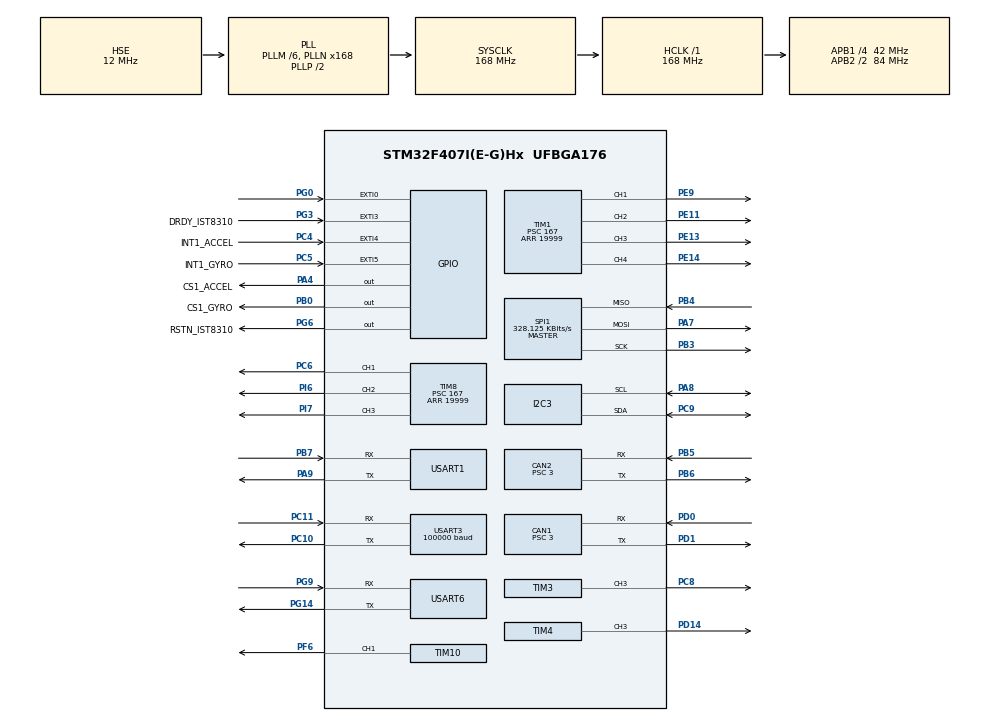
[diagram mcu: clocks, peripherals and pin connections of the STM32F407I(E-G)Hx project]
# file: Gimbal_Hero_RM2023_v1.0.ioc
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CAN1.BS1=CAN_BS1_10TQ
CAN1.BS2=CAN_BS2_3TQ
CAN1.CalculateBaudRate=1000000
CAN1.CalculateTimeQuantum=71.42857142857143
CAN1.NART=ENABLE
CAN1.Prescaler=3
CAN2.BS1=CAN_BS1_10TQ
CAN2.BS2=CAN_BS2_3TQ
CAN2.CalculateBaudRate=1000000
CAN2.CalculateTimeQuantum=71.42857142857143
CAN2.NART=ENABLE
CAN2.Prescaler=3
Dma.Request0=USART3_RX
Dma.Request1=USART1_TX
Dma.Request2=SPI1_RX
Dma.Request3=SPI1_TX
Dma.Request4=USART6_RX
Dma.Request5=USART6_TX
Dma.Request6=USART1_RX
Dma.SPI1_RX.2.Direction=DMA_PERIPH_TO_MEMORY
Dma.SPI1_RX.2.FIFOMode=DMA_FIFOMODE_DISABLE
Dma.SPI1_RX.2.Instance=DMA2_Stream2
Dma.SPI1_RX.2.MemDataAlignment=DMA_MDATAALIGN_BYTE
Dma.SPI1_RX.2.MemInc=DMA_MINC_ENABLE
Dma.SPI1_RX.2.Mode=DMA_NORMAL
Dma.SPI1_RX.2.PeriphDataAlignment=DMA_PDATAALIGN_BYTE
Dma.SPI1_RX.2.PeriphInc=DMA_PINC_DISABLE
Dma.SPI1_RX.2.Priority=DMA_PRIORITY_VERY_HIGH
Dma.SPI1_TX.3.Direction=DMA_MEMORY_TO_PERIPH
Dma.SPI1_TX.3.FIFOMode=DMA_FIFOMODE_DISABLE
Dma.SPI1_TX.3.Instance=DMA2_Stream3
Dma.SPI1_TX.3.MemDataAlignment=DMA_MDATAALIGN_BYTE
Dma.SPI1_TX.3.MemInc=DMA_MINC_ENABLE
Dma.SPI1_TX.3.Mode=DMA_NORMAL
Dma.SPI1_TX.3.PeriphDataAlignment=DMA_PDATAALIGN_BYTE
Dma.SPI1_TX.3.PeriphInc=DMA_PINC_DISABLE
Dma.SPI1_TX.3.Priority=DMA_PRIORITY_HIGH
Dma.USART1_RX.6.Direction=DMA_PERIPH_TO_MEMORY
Dma.USART1_RX.6.FIFOMode=DMA_FIFOMODE_DISABLE
Dma.USART1_RX.6.Instance=DMA2_Stream5
Dma.USART1_RX.6.MemDataAlignment=DMA_MDATAALIGN_BYTE
Dma.USART1_RX.6.MemInc=DMA_MINC_ENABLE
Dma.USART1_RX.6.Mode=DMA_NORMAL
Dma.USART1_RX.6.PeriphDataAlignment=DMA_PDATAALIGN_BYTE
Dma.USART1_RX.6.PeriphInc=DMA_PINC_DISABLE
Dma.USART1_RX.6.Priority=DMA_PRIORITY_VERY_HIGH
Dma.USART1_TX.1.Direction=DMA_MEMORY_TO_PERIPH
Dma.USART1_TX.1.FIFOMode=DMA_FIFOMODE_DISABLE
Dma.USART1_TX.1.Instance=DMA2_Stream7
Dma.USART1_TX.1.MemDataAlignment=DMA_MDATAALIGN_BYTE
Dma.USART1_TX.1.MemInc=DMA_MINC_ENABLE
Dma.USART1_TX.1.Mode=DMA_NORMAL
Dma.USART1_TX.1.PeriphDataAlignment=DMA_PDATAALIGN_BYTE
Dma.USART1_TX.1.PeriphInc=DMA_PINC_DISABLE
Dma.USART1_TX.1.Priority=DMA_PRIORITY_VERY_HIGH
Dma.USART3_RX.0.Direction=DMA_PERIPH_TO_MEMORY
Dma.USART3_RX.0.FIFOMode=DMA_FIFOMODE_DISABLE
Dma.USART3_RX.0.Instance=DMA1_Stream1
Dma.USART3_RX.0.MemDataAlignment=DMA_MDATAALIGN_BYTE
Dma.USART3_RX.0.MemInc=DMA_MINC_ENABLE
Dma.USART3_RX.0.Mode=DMA_NORMAL
Dma.USART3_RX.0.PeriphDataAlignment=DMA_PDATAALIGN_BYTE
Dma.USART3_RX.0.PeriphInc=DMA_PINC_DISABLE
Dma.USART3_RX.0.Priority=DMA_PRIORITY_VERY_HIGH
Dma.USART6_RX.4.Direction=DMA_PERIPH_TO_MEMORY
Dma.USART6_RX.4.FIFOMode=DMA_FIFOMODE_DISABLE
Dma.USART6_RX.4.Instance=DMA2_Stream1
Dma.USART6_RX.4.MemDataAlignment=DMA_MDATAALIGN_BYTE
Dma.USART6_RX.4.MemInc=DMA_MINC_ENABLE
Dma.USART6_RX.4.Mode=DMA_NORMAL
Dma.USART6_RX.4.PeriphDataAlignment=DMA_PDATAALIGN_BYTE
Dma.USART6_RX.4.PeriphInc=DMA_PINC_DISABLE
Dma.USART6_RX.4.Priority=DMA_PRIORITY_VERY_HIGH
Dma.USART6_TX.5.Direction=DMA_MEMORY_TO_PERIPH
Dma.USART6_TX.5.FIFOMode=DMA_FIFOMODE_DISABLE
Dma.USART6_TX.5.Instance=DMA2_Stream6
Dma.USART6_TX.5.MemDataAlignment=DMA_MDATAALIGN_BYTE
Dma.USART6_TX.5.MemInc=DMA_MINC_ENABLE
Dma.USART6_TX.5.Mode=DMA_NORMAL
Dma.USART6_TX.5.PeriphDataAlignment=DMA_PDATAALIGN_BYTE
Dma.USART6_TX.5.PeriphInc=DMA_PINC_DISABLE
Dma.USART6_TX.5.Priority=DMA_PRIORITY_VERY_HIGH
FREERTOS.INCLUDE_eTaskGetState=1
FREERTOS.INCLUDE_pcTaskGetTaskName=1
FREERTOS.INCLUDE_uxTaskGetStackHighWaterMark=1
FREERTOS.INCLUDE_vTaskCleanUpResources=1
FREERTOS.INCLUDE_vTaskDelayUntil=1
FREERTOS.INCLUDE_xEventGroupSetBitFromISR=1
FREERTOS.INCLUDE_xQueueGetMutexHolder=1
FREERTOS.INCLUDE_xSemaphoreGetMutexHolder=1
FREERTOS.INCLUDE_xTaskAbortDelay=1
FREERTOS.INCLUDE_xTaskGetCurrentTaskHandle=1
FREERTOS.INCLUDE_xTaskGetHandle=1
FREERTOS.INCLUDE_xTimerPendFunctionCall=1
FREERTOS.Tasks01=Rabbit_Task,0,128,rabbit_task,As weak,NULL,Dynamic,NULL,NULL;Shoot_Task,0,512,shoot_task,As weak,NULL,Dynamic,NULL,NULL;Gimbal_Task,2,512,gimbal_task,As weak,NULL,Dynamic,NULL,NULL;INS_Task,3,2560,INS_task,As weak,NULL,Dynamic,NULL,NULL;Chassis_Task,1,512,chassis_task,As weak,NULL,Dynamic,NULL,NULL;Comm_Task,0,128,comm_task,As weak,NULL,Dynamic,NULL,NULL
FREERTOS.configMAX_TASK_NAME_LEN=19
FREERTOS.configTOTAL_HEAP_SIZE=24576
FREERTOS.configUSE_TIMERS=1
I2C3.I2C_Mode=I2C_Fast
Mcu.Family=STM32F4
Mcu.Name=STM32F407I(E-G)Hx
Mcu.Package=UFBGA176
NVIC.CAN1_RX0_IRQn=true\:5\:0\:true\:false\:true\:true\:true\:true\:true
NVIC.CAN2_RX0_IRQn=true\:5\:0\:false\:false\:true\:true\:true\:true\:true
NVIC.DMA1_Stream1_IRQn=true\:5\:0\:false\:false\:true\:true\:false\:true\:true
NVIC.DMA2_Stream1_IRQn=true\:5\:0\:false\:false\:true\:true\:false\:true\:true
NVIC.DMA2_Stream2_IRQn=true\:5\:0\:false\:false\:false\:false\:false\:true\:true
NVIC.DMA2_Stream3_IRQn=true\:5\:0\:false\:false\:true\:true\:false\:true\:true
NVIC.DMA2_Stream5_IRQn=true\:5\:0\:false\:false\:true\:true\:false\:true\:true
NVIC.DMA2_Stream6_IRQn=true\:5\:0\:false\:false\:true\:true\:false\:true\:true
NVIC.DMA2_Stream7_IRQn=true\:5\:0\:false\:false\:true\:true\:false\:true\:true
NVIC.EXTI0_IRQn=true\:5\:0\:false\:false\:true\:true\:true\:true\:true
NVIC.EXTI3_IRQn=true\:5\:0\:false\:false\:true\:true\:true\:true\:true
NVIC.EXTI4_IRQn=true\:5\:0\:false\:false\:true\:true\:true\:true\:true
NVIC.EXTI9_5_IRQn=true\:5\:0\:false\:false\:true\:true\:true\:true\:true
NVIC.PriorityGroup=NVIC_PRIORITYGROUP_4
NVIC.TIM6_DAC_IRQn=true\:15\:0\:false\:false\:true\:false\:false\:true\:true
NVIC.TimeBase=TIM6_DAC_IRQn
NVIC.TimeBaseIP=TIM6
NVIC.USART1_IRQn=true\:5\:0\:false\:false\:true\:true\:true\:true\:true
NVIC.USART3_IRQn=true\:5\:0\:false\:false\:false\:true\:true\:true\:true
NVIC.USART6_IRQn=true\:5\:0\:false\:false\:true\:true\:true\:true\:true
PA13.Mode=Serial_Wire
PA13.Signal=SYS_JTMS-SWDIO
PA14.Mode=Serial_Wire
PA14.Signal=SYS_JTCK-SWCLK
PA4.GPIO_Label=CS1_ACCEL
PA4.GPIO_PuPd=GPIO_PULLUP
PA4.GPIO_Speed=GPIO_SPEED_FREQ_HIGH
PA4.PinState=GPIO_PIN_SET
PA4.Signal=GPIO_Output
PA7.Mode=Full_Duplex_Master
PA7.Signal=SPI1_MOSI
PA8.GPIO_Pu=GPIO_PULLUP
PA8.Mode=I2C
PA8.Signal=I2C3_SCL
PA9.Mode=Asynchronous
PA9.Signal=USART1_TX
PB0.GPIO_Label=CS1_GYRO
PB0.GPIO_PuPd=GPIO_PULLUP
PB0.GPIO_Speed=GPIO_SPEED_FREQ_HIGH
PB0.PinState=GPIO_PIN_SET
PB0.Signal=GPIO_Output
PB3.Mode=Full_Duplex_Master
PB3.Signal=SPI1_SCK
PB4.Mode=Full_Duplex_Master
PB4.Signal=SPI1_MISO
PB5.Mode=CAN_Activate
PB5.Signal=CAN2_RX
PB6.Mode=CAN_Activate
PB6.Signal=CAN2_TX
PB7.Mode=Asynchronous
PB7.Signal=USART1_RX
PC10.Mode=Asynchronous
PC10.Signal=USART3_TX
PC11.Mode=Asynchronous
PC11.Signal=USART3_RX
PC4.GPIO_Label=INT1_ACCEL
PC4.GPIO_ModeDefaultEXTI=GPIO_MODE_IT_FALLING
PC4.GPIO_PuPd=GPIO_PULLUP
PC4.Signal=GPXTI4
PC5.GPIO_Label=INT1_GYRO
PC5.GPIO_ModeDefaultEXTI=GPIO_MODE_IT_FALLING
PC5.GPIO_PuPd=GPIO_PULLUP
PC5.Signal=GPXTI5
PC6.GPIO_PuPd=GPIO_PULLUP
PC6.GPIO_Speed=GPIO_SPEED_FREQ_HIGH
PC6.Signal=S_TIM8_CH1
PC8.GPIO_PuPd=GPIO_PULLUP
PC8.GPIO_Speed=GPIO_SPEED_FREQ_VERY_HIGH
PC8.Signal=S_TIM3_CH3
PC9.GPIO_Pu=GPIO_PULLUP
PC9.Mode=I2C
PC9.Signal=I2C3_SDA
PD0.Mode=CAN_Activate
PD0.Signal=CAN1_RX
PD1.Mode=CAN_Activate
PD1.Signal=CAN1_TX
PD14.Signal=S_TIM4_CH3
PE11.GPIO_PuPd=GPIO_PULLUP
PE11.GPIO_Speed=GPIO_SPEED_FREQ_HIGH
PE11.Signal=S_TIM1_CH2
PE13.GPIO_PuPd=GPIO_PULLUP
PE13.GPIO_Speed=GPIO_SPEED_FREQ_HIGH
PE13.Signal=S_TIM1_CH3
PE14.GPIO_PuPd=GPIO_PULLUP
PE14.GPIO_Speed=GPIO_SPEED_FREQ_HIGH
PE14.Signal=S_TIM1_CH4
PE9.GPIO_PuPd=GPIO_PULLUP
PE9.GPIO_Speed=GPIO_SPEED_FREQ_HIGH
PE9.Signal=S_TIM1_CH1
PF6.GPIO_PuPd=GPIO_PULLUP
PF6.GPIO_Speed=GPIO_SPEED_FREQ_HIGH
PF6.Signal=S_TIM10_CH1
PG0.GPIO_ModeDefaultEXTI=GPIO_MODE_IT_FALLING
PG0.GPIO_PuPd=GPIO_PULLUP
PG0.Signal=GPXTI0
PG14.Mode=Asynchronous
PG14.Signal=USART6_TX
PG3.GPIO_Label=DRDY_IST8310
PG3.GPIO_ModeDefaultEXTI=GPIO_MODE_IT_FALLING
PG3.GPIO_PuPd=GPIO_PULLUP
PG3.Signal=GPXTI3
PG6.GPIO_Label=RSTN_IST8310
PG6.GPIO_PuPd=GPIO_PULLUP
PG6.GPIO_Speed=GPIO_SPEED_FREQ_MEDIUM
PG6.PinState=GPIO_PIN_SET
PG6.Signal=GPIO_Output
PG9.Mode=Asynchronous
PG9.Signal=USART6_RX
PH0-OSC_IN.Mode=HSE-External-Oscillator
PH0-OSC_IN.Signal=RCC_OSC_IN
PH1-OSC_OUT.Mode=HSE-External-Oscillator
PH1-OSC_OUT.Signal=RCC_OSC_OUT
PI6.GPIO_PuPd=GPIO_PULLUP
PI6.GPIO_Speed=GPIO_SPEED_FREQ_HIGH
PI6.Signal=S_TIM8_CH2
PI7.GPIO_PuPd=GPIO_PULLUP
PI7.GPIO_Speed=GPIO_SPEED_FREQ_HIGH
PI7.Signal=S_TIM8_CH3
ProjectManager.HeapSize=0x200
ProjectManager.StackSize=0x400
ProjectManager.TargetToolchain=MDK-ARM V5
RCC.48MHZClocksFreq_Value=84000000
RCC.AHBFreq_Value=168000000
RCC.APB1CLKDivider=RCC_HCLK_DIV4
RCC.APB1Freq_Value=42000000
RCC.APB1TimFreq_Value=84000000
RCC.APB2CLKDivider=RCC_HCLK_DIV2
RCC.APB2Freq_Value=84000000
RCC.APB2TimFreq_Value=168000000
RCC.CortexFreq_Value=168000000
RCC.HCLKFreq_Value=168000000
RCC.HSE_VALUE=12000000
RCC.HSI_VALUE=16000000
RCC.LSE_VALUE=32768
RCC.PLLM=6
RCC.PLLN=168
RCC.PLLSourceVirtual=RCC_PLLSOURCE_HSE
RCC.SYSCLKFreq_VALUE=168000000
RCC.SYSCLKSource=RCC_SYSCLKSOURCE_PLLCLK
RCC.VCOOutputFreq_Value=336000000
SH.S_TIM10_CH1.0=TIM10_CH1,PWM Generation1 CH1
SH.S_TIM1_CH1.0=TIM1_CH1,PWM Generation1 CH1
SH.S_TIM1_CH2.0=TIM1_CH2,PWM Generation2 CH2
SH.S_TIM1_CH3.0=TIM1_CH3,PWM Generation3 CH3
SH.S_TIM1_CH4.0=TIM1_CH4,PWM Generation4 CH4
SH.S_TIM3_CH3.0=TIM3_CH3,PWM Generation3 CH3
SH.S_TIM4_CH3.0=TIM4_CH3,PWM Generation3 CH3
SH.S_TIM8_CH1.0=TIM8_CH1,PWM Generation1 CH1
SH.S_TIM8_CH2.0=TIM8_CH2,PWM Generation2 CH2
SH.S_TIM8_CH3.0=TIM8_CH3,PWM Generation3 CH3
SPI1.BaudRatePrescaler=SPI_BAUDRATEPRESCALER_256
SPI1.CLKPhase=SPI_PHASE_2EDGE
SPI1.CLKPolarity=SPI_POLARITY_HIGH
SPI1.CalculateBaudRate=328.125 KBits/s
SPI1.Direction=SPI_DIRECTION_2LINES
SPI1.Mode=SPI_MODE_MASTER
SPI1.VirtualType=VM_MASTER
TIM1.Channel-PWM\ Generation1\ CH1=TIM_CHANNEL_1
TIM1.Channel-PWM\ Generation2\ CH2=TIM_CHANNEL_2
TIM1.Channel-PWM\ Generation3\ CH3=TIM_CHANNEL_3
TIM1.Channel-PWM\ Generation4\ CH4=TIM_CHANNEL_4
TIM1.Period=19999
TIM1.Prescaler=167
TIM1.Pulse-PWM\ Generation1\ CH1=2000
TIM10.Channel=TIM_CHANNEL_1
TIM10.Period=4999
TIM3.Channel-PWM\ Generation3\ CH3=TIM_CHANNEL_3
TIM3.Period=1000-1
TIM3.Prescaler=84-1
TIM4.Channel-PWM\ Generation3\ CH3=TIM_CHANNEL_3
TIM4.Period=20999
TIM8.Channel-PWM\ Generation1\ CH1=TIM_CHANNEL_1
TIM8.Channel-PWM\ Generation2\ CH2=TIM_CHANNEL_2
TIM8.Channel-PWM\ Generation3\ CH3=TIM_CHANNEL_3
TIM8.Period=19999
TIM8.Prescaler=167
TIM8.Pulse-PWM\ Generation1\ CH1=2000
TIM8.Pulse-PWM\ Generation2\ CH2=1450
TIM8.Pulse-PWM\ Generation3\ CH3=1500
USART1.VirtualMode=VM_ASYNC
USART3.BaudRate=100000
USART3.VirtualMode=VM_ASYNC
USART6.VirtualMode=VM_ASYNC
VP_FREERTOS_VS_CMSIS_V1.Mode=CMSIS_V1
VP_SYS_VS_tim6.Mode=TIM6
VP_TIM10_VS_ClockSourceINT.Mode=Enable_Timer
VP_TIM1_VS_ClockSourceINT.Mode=Internal
VP_TIM3_VS_ClockSourceINT.Mode=Internal
VP_TIM4_VS_ClockSourceINT.Mode=Internal
VP_TIM8_VS_ClockSourceINT.Mode=Internal
board=custom

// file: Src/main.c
/* USER CODE BEGIN Header */
/**
  ******************************************************************************
  * @file           : main.c
  * @brief          : Main program body
  ******************************************************************************
  * @attention
  *
  * <h2><center>&copy; Copyright (c) 2022 STMicroelectronics.
  * All rights reserved.</center></h2>
  *
  * This software component is licensed by ST under Ultimate Liberty license
  * SLA0044, the "License"; You may not use this file except in compliance with
  * the License. You may obtain a copy of the License at:
  *                             www.st.com/SLA0044
  *
  ******************************************************************************
  */
/* USER CODE END Header */
#include "main.h"
#include "cmsis_os.h"
#include "can.h"
#include "dma.h"
#include "i2c.h"
#include "spi.h"
#include "tim.h"
#include "usart.h"
#include "gpio.h"

/* USER CODE BEGIN Includes */
#include "bsp_can.h"
#include "remote_control.h"
#include "ist8310driver.h"
#include "BMI088driver.h"
#include "servo.h"
#include "bsp_pwm.h"
#include "bsp_delay.h"
/* USER CODE END Includes */

void SystemClock_Config(void);
void MX_FREERTOS_Init(void);

int main(void)
{

  /* MCU Configuration--------------------------------------------------------*/

  /* Reset of all peripherals, Initializes the Flash interface and the Systick. */
  HAL_Init();

  /* Configure the system clock */
  SystemClock_Config();

  /* Initialize all configured peripherals */
  MX_GPIO_Init();
  MX_DMA_Init();
  MX_TIM8_Init();
  MX_TIM1_Init();
  MX_CAN1_Init();
  MX_CAN2_Init();
  MX_USART3_UART_Init();
  MX_USART1_UART_Init();
  MX_SPI1_Init();
  MX_I2C3_Init();
  MX_TIM10_Init();
  MX_USART6_UART_Init();
  MX_TIM4_Init();
  MX_TIM3_Init();
  /* USER CODE BEGIN 2 */

		servo_init();

	imu_pwm_init();

	can_filter_init();//can过滤器初始化

	remote_control_init();

		delay_init();

	HAL_TIM_PWM_Start(&htim4, TIM_CHANNEL_3);//开启蜂鸣器pwm

		TIM3->CCR3=1000;//开启激光
	HAL_TIM_PWM_Start(&htim3, TIM_CHANNEL_3);

	TIM1->CCR1=1000;
	TIM1->CCR2=1000;
	TIM1->CCR3=1500;//close,600open
	HAL_TIM_PWM_Start(&htim1, TIM_CHANNEL_1);
	HAL_TIM_PWM_Start(&htim1, TIM_CHANNEL_2);
	HAL_TIM_PWM_Start(&htim1, TIM_CHANNEL_3);

  /* USER CODE END 2 */

  /* Call init function for freertos objects (in freertos.c) */
  MX_FREERTOS_Init();

  /* Start scheduler */
  osKernelStart();
  /* We should never get here as control is now taken by the scheduler */
  /* Infinite loop */
  while (1)
  {

  }
}

void SystemClock_Config(void)
{
  RCC_OscInitTypeDef RCC_OscInitStruct = {0};
  RCC_ClkInitTypeDef RCC_ClkInitStruct = {0};

  /** Configure the main internal regulator output voltage
  */
  __HAL_RCC_PWR_CLK_ENABLE();
  __HAL_PWR_VOLTAGESCALING_CONFIG(PWR_REGULATOR_VOLTAGE_SCALE1);

  /** Initializes the RCC Oscillators according to the specified parameters
  * in the RCC_OscInitTypeDef structure.
  */
  RCC_OscInitStruct.OscillatorType = RCC_OSCILLATORTYPE_HSE;
  RCC_OscInitStruct.HSEState = RCC_HSE_ON;
  RCC_OscInitStruct.PLL.PLLState = RCC_PLL_ON;
  RCC_OscInitStruct.PLL.PLLSource = RCC_PLLSOURCE_HSE;
  RCC_OscInitStruct.PLL.PLLM = 6;
  RCC_OscInitStruct.PLL.PLLN = 168;
  RCC_OscInitStruct.PLL.PLLP = RCC_PLLP_DIV2;
  RCC_OscInitStruct.PLL.PLLQ = 4;
  if (HAL_RCC_OscConfig(&RCC_OscInitStruct) != HAL_OK)
  {
    Error_Handler();
  }

  /** Initializes the CPU, AHB and APB buses clocks
  */
  RCC_ClkInitStruct.ClockType = RCC_CLOCKTYPE_HCLK|RCC_CLOCKTYPE_SYSCLK
                              |RCC_CLOCKTYPE_PCLK1|RCC_CLOCKTYPE_PCLK2;
  RCC_ClkInitStruct.SYSCLKSource = RCC_SYSCLKSOURCE_PLLCLK;
  RCC_ClkInitStruct.AHBCLKDivider = RCC_SYSCLK_DIV1;
  RCC_ClkInitStruct.APB1CLKDivider = RCC_HCLK_DIV4;
  RCC_ClkInitStruct.APB2CLKDivider = RCC_HCLK_DIV2;

  if (HAL_RCC_ClockConfig(&RCC_ClkInitStruct, FLASH_LATENCY_5) != HAL_OK)
  {
    Error_Handler();
  }
}

void HAL_TIM_PeriodElapsedCallback(TIM_HandleTypeDef *htim)
{
  if (htim->Instance == TIM6) {
    HAL_IncTick();
  }
}

void Error_Handler(void)
{
}

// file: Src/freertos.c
/* USER CODE BEGIN Header */
/**
  ******************************************************************************
  * File Name          : freertos.c
  * Description        : Code for freertos applications
  ******************************************************************************
  * @attention
  *
  * <h2><center>&copy; Copyright (c) 2022 STMicroelectronics.
  * All rights reserved.</center></h2>
  *
  * This software component is licensed by ST under Ultimate Liberty license
  * SLA0044, the "License"; You may not use this file except in compliance with
  * the License. You may obtain a copy of the License at:
  *                             www.st.com/SLA0044
  *
  ******************************************************************************
  */
/* USER CODE END Header */

#include "FreeRTOS.h"
#include "task.h"
#include "main.h"
#include "cmsis_os.h"

/* USER CODE BEGIN Includes */
#include "Nmanifold_usart_task.h"
/* USER CODE END Includes */

osThreadId Rabbit_TaskHandle;
osThreadId Shoot_TaskHandle;
osThreadId Gimbal_TaskHandle;
osThreadId INS_TaskHandle;
osThreadId Chassis_TaskHandle;
osThreadId Comm_TaskHandle;

void rabbit_task(void const * argument);
void shoot_task(void const * argument);
void gimbal_task(void const * argument);
void INS_task(void const * argument);
void chassis_task(void const * argument);
void comm_task(void const * argument);

void MX_FREERTOS_Init(void); /* (MISRA C 2004 rule 8.1) */

/* GetIdleTaskMemory prototype (linked to static allocation support) */
void vApplicationGetIdleTaskMemory( StaticTask_t **ppxIdleTaskTCBBuffer, StackType_t **ppxIdleTaskStackBuffer, uint32_t *pulIdleTaskStackSize );

/* GetTimerTaskMemory prototype (linked to static allocation support) */
void vApplicationGetTimerTaskMemory( StaticTask_t **ppxTimerTaskTCBBuffer, StackType_t **ppxTimerTaskStackBuffer, uint32_t *pulTimerTaskStackSize );

/* USER CODE BEGIN GET_IDLE_TASK_MEMORY */
static StaticTask_t xIdleTaskTCBBuffer;
static StackType_t xIdleStack[configMINIMAL_STACK_SIZE];

void vApplicationGetIdleTaskMemory( StaticTask_t **ppxIdleTaskTCBBuffer, StackType_t **ppxIdleTaskStackBuffer, uint32_t *pulIdleTaskStackSize )
{
  *ppxIdleTaskTCBBuffer = &xIdleTaskTCBBuffer;
  *ppxIdleTaskStackBuffer = &xIdleStack[0];
  *pulIdleTaskStackSize = configMINIMAL_STACK_SIZE;
  /* place for user code */
}
/* USER CODE END GET_IDLE_TASK_MEMORY */

/* USER CODE BEGIN GET_TIMER_TASK_MEMORY */
static StaticTask_t xTimerTaskTCBBuffer;
static StackType_t xTimerStack[configTIMER_TASK_STACK_DEPTH];

void vApplicationGetTimerTaskMemory( StaticTask_t **ppxTimerTaskTCBBuffer, StackType_t **ppxTimerTaskStackBuffer, uint32_t *pulTimerTaskStackSize )
{
  *ppxTimerTaskTCBBuffer = &xTimerTaskTCBBuffer;
  *ppxTimerTaskStackBuffer = &xTimerStack[0];
  *pulTimerTaskStackSize = configTIMER_TASK_STACK_DEPTH;
  /* place for user code */
}
/* USER CODE END GET_TIMER_TASK_MEMORY */

void MX_FREERTOS_Init(void) {

  /* Create the thread(s) */
  /* definition and creation of Rabbit_Task */
  osThreadDef(Rabbit_Task, rabbit_task, osPriorityNormal, 0, 128);
  Rabbit_TaskHandle = osThreadCreate(osThread(Rabbit_Task), NULL);

  /* definition and creation of Shoot_Task */
  osThreadDef(Shoot_Task, shoot_task, osPriorityNormal, 0, 512);
  Shoot_TaskHandle = osThreadCreate(osThread(Shoot_Task), NULL);

  /* definition and creation of Gimbal_Task */
  osThreadDef(Gimbal_Task, gimbal_task, osPriorityHigh, 0, 512);
  Gimbal_TaskHandle = osThreadCreate(osThread(Gimbal_Task), NULL);

  /* definition and creation of INS_Task */
  osThreadDef(INS_Task, INS_task, osPriorityRealtime, 0, 2560);
  INS_TaskHandle = osThreadCreate(osThread(INS_Task), NULL);

  /* definition and creation of Chassis_Task */
  osThreadDef(Chassis_Task, chassis_task, osPriorityAboveNormal, 0, 512);
  Chassis_TaskHandle = osThreadCreate(osThread(Chassis_Task), NULL);

  /* definition and creation of Comm_Task */
  osThreadDef(Comm_Task, comm_task, osPriorityNormal, 0, 128);
  Comm_TaskHandle = osThreadCreate(osThread(Comm_Task), NULL);

  /* USER CODE BEGIN RTOS_THREADS */
	xTaskCreate((TaskFunction_t)manifold_usart_task, "manifold_usart_task", 512, NULL, 0, NULL);
  /* add threads, ... */
  /* USER CODE END RTOS_THREADS */

}

__weak void rabbit_task(void const * argument)
{
  for(;;)
  {
    osDelay(1);
  }
}

__weak void shoot_task(void const * argument)
{
  for(;;)
  {
    osDelay(1);
  }
}

__weak void gimbal_task(void const * argument)
{
  for(;;)
  {
    osDelay(1);
  }
}

__weak void INS_task(void const * argument)
{
  for(;;)
  {
    osDelay(1);
  }
}

__weak void chassis_task(void const * argument)
{
  for(;;)
  {
    osDelay(1);
  }
}

__weak void comm_task(void const * argument)
{
  for(;;)
  {
    osDelay(1);
  }
}
